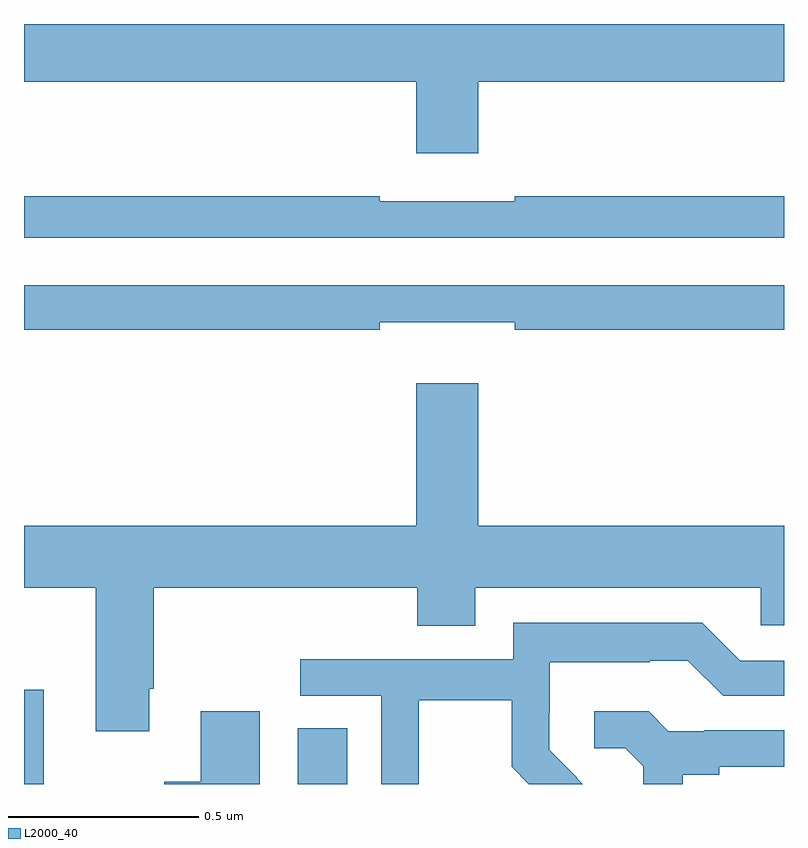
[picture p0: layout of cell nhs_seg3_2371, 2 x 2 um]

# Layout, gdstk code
import gdstk
lib = gdstk.Library(unit=1e-6, precision=1e-09)
def R(c, l, rs):  # rectangles x0, y0, x1, y1
    for r in rs: c.add(gdstk.rectangle(r[:2], r[2:], *l))
def P(c, l, *ps):  # polygons
    for p in ps: c.add(gdstk.Polygon(p, *l))
L2000_40 = (2000, 40)

nhs_seg3_2371 = lib.new_cell('nhs_seg3_2371')
R(nhs_seg3_2371, L2000_40, [(140,700.4,140.052,700.648), (140.72,700.4,140.851,700.547)])
P(nhs_seg3_2371, L2000_40, [(141.196,702.248),(142,702.248),(142,702.4),(140,702.4),(140,702.248),(141.032,702.248),(141.032,702.06),(141.196,702.06)],
  [(142,701.947),(141.292,701.947),(141.292,701.934),(140.936,701.934),(140.936,701.947),(140,701.947),(140,701.838),(142,701.838)],
  [(140.936,701.615),(141.292,701.615),(141.292,701.596),(142,701.596),(142,701.712),(140,701.712),(140,701.596),(140.936,701.596)],
  [(140.329,700.651),(140.342,700.651),(140.342,700.916),(141.035,700.916),(141.035,700.817),(141.187,700.817),(141.187,700.916),(141.939,700.916),(141.939,700.818),(142,700.818),(142,701.08),(141.196,701.08),(141.196,701.455),(141.032,701.455),(141.032,701.08),(140,701.08),(140,700.916),(140.189,700.916),(140.189,700.539),(140.329,700.539)],
  [(141.039,700.62),(141.283,700.62),(141.283,700.445),(141.328,700.4),(141.47,700.4),(141.455,700.415),(141.456,700.416),(141.382,700.49),(141.382,700.587),(141.384,700.587),(141.384,700.721),(141.647,700.721),(141.647,700.725),(141.747,700.725),(141.84,700.632),(142,700.632),(142,700.725),(141.885,700.725),(141.785,700.825),(141.288,700.825),(141.288,700.728),(140.727,700.728),(140.727,700.632),(140.94,700.632),(140.94,700.4),(141.039,700.4)],
  [(141.733,700.424),(141.829,700.424),(141.829,700.446),(142,700.446),(142,700.542),(141.79,700.542),(141.79,700.539),(141.696,700.539),(141.644,700.591),(141.501,700.591),(141.501,700.494),(141.582,700.494),(141.629,700.447),(141.629,700.4),(141.733,700.4)],
  [(140.62,700.591),(140.465,700.591),(140.465,700.406),(140.369,700.406),(140.369,700.4),(140.62,700.4)])

lib.write_gds('nhs_seg3_2371.gds')
